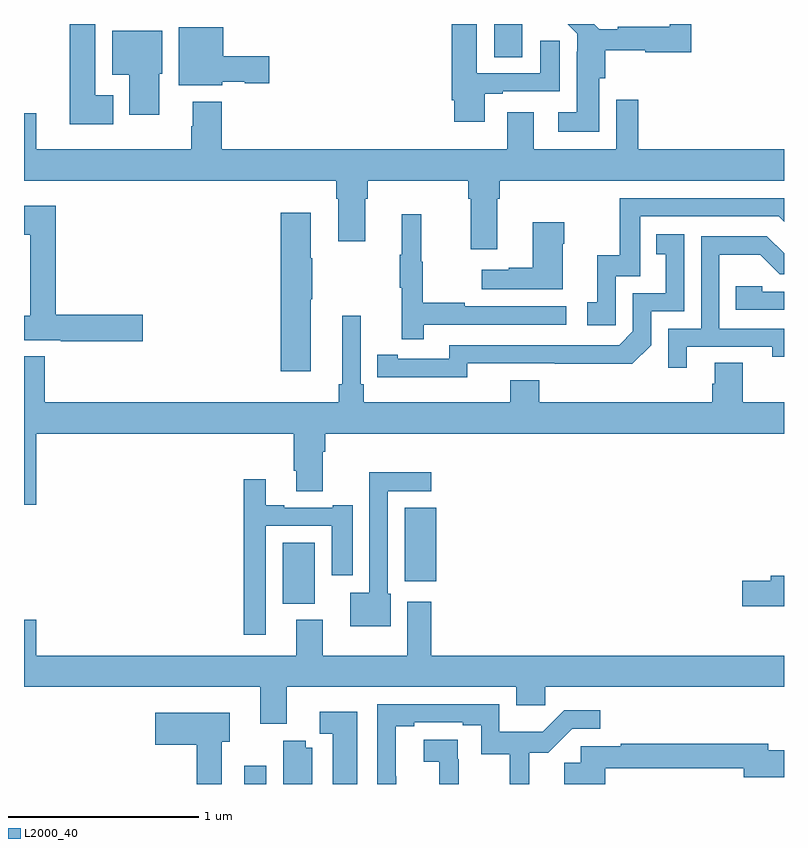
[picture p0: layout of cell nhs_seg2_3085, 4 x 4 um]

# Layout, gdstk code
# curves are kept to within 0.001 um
import gdstk
lib = gdstk.Library(unit=1e-6, precision=1e-09)
def R(c, l, rs):  # rectangles x0, y0, x1, y1
    for r in rs: c.add(gdstk.rectangle(r[:2], r[2:], *l))
def P(c, l, *ps):  # polygons
    for p in ps: c.add(gdstk.Polygon(p, *l))
L2000_40 = (2000, 40)

nhs_seg2_3085 = lib.new_cell('nhs_seg2_3085')
R(nhs_seg2_3085, L2000_40, [(274.158,637.8,274.275,637.897), (274.361,638.75,274.531,639.07), (275.003,638.867,275.17,639.253), (275.474,641.626,275.623,641.8)])
P(nhs_seg2_3085, L2000_40, [(276.028,641.514),(276.059,641.514),(276.059,641.663),(276.27,641.663),(276.27,641.651),(276.511,641.651),(276.511,641.798),(276.398,641.798),(276.398,641.785),(276.126,641.785),(276.126,641.773),(276.027,641.773),(276,641.8),(275.861,641.8),(275.913,641.748),(275.913,641.654),(275.909,641.654),(275.909,641.335),(275.811,641.335),(275.811,641.234),(276.028,641.234)],
  [(275.425,641.433),(275.521,641.433),(275.521,641.445),(275.821,641.445),(275.821,641.713),(275.717,641.713),(275.717,641.541),(275.383,641.541),(275.383,641.8),(275.252,641.8),(275.252,641.398),(275.264,641.398),(275.264,641.286),(275.425,641.286)],
  [(273.469,641.425),(273.376,641.425),(273.376,641.8),(273.242,641.8),(273.242,641.273),(273.469,641.273)],
  [(274.044,641.495),(274.161,641.495),(274.161,641.488),(274.291,641.488),(274.291,641.63),(274.048,641.63),(274.048,641.782),(273.815,641.782),(273.815,641.477),(274.044,641.477)],
  [(273.712,641.538),(273.727,641.538),(273.727,641.764),(273.464,641.764),(273.464,641.534),(273.554,641.534),(273.554,641.322),(273.712,641.322)],
  [(275.491,640.88),(275.504,640.88),(275.504,640.976),(277,640.976),(277,641.14),(276.233,641.14),(276.233,641.401),(276.117,641.401),(276.117,641.14),(275.683,641.14),(275.683,641.335),(275.543,641.335),(275.543,641.14),(274.04,641.14),(274.04,641.392),(273.887,641.392),(273.887,641.261),(273.88,641.261),(273.88,641.14),(273.064,641.14),(273.064,641.329),(273,641.329),(273,640.976),(274.643,640.976),(274.643,640.88),(274.655,640.88),(274.655,640.656),(274.795,640.656),(274.795,640.88),(274.808,640.88),(274.808,640.976),(275.339,640.976),(275.339,640.88),(275.351,640.88),(275.351,640.614),(275.491,640.614)],
  [(276.114,640.473),(276.243,640.473),(276.243,640.788),(276.972,640.788),(277,640.76),(277,640.884),(276.135,640.884),(276.135,640.582),(276.017,640.582),(276.017,640.335),(275.964,640.335),(275.964,640.215),(276.114,640.215)],
  [(273.625,640.271),(273.167,640.271),(273.167,640.843),(273,640.843),(273,640.691),(273.032,640.691),(273.032,640.264),(273,640.264),(273,640.136),(273.193,640.136),(273.193,640.129),(273.625,640.129)],
  [(274.51,640.351),(274.518,640.351),(274.518,640.568),(274.51,640.568),(274.51,640.807),(274.352,640.807),(274.352,639.972),(274.51,639.972)],
  [(275.105,640.218),(275.854,640.218),(275.854,640.314),(275.321,640.314),(275.321,640.334),(275.098,640.334),(275.098,640.548),(275.09,640.548),(275.09,640.798),(274.988,640.798),(274.988,640.585),(274.977,640.585),(274.977,640.411),(274.988,640.411),(274.988,640.14),(275.105,640.14)],
  [(275.836,640.643),(275.844,640.643),(275.844,640.756),(275.678,640.756),(275.678,640.517),(275.552,640.517),(275.552,640.507),(275.409,640.507),(275.409,640.403),(275.836,640.403)],
  [(275.334,640.014),(276.202,640.013),(276.3,640.11),(276.3,640.287),(276.474,640.287),(276.474,640.693),(276.328,640.693),(276.328,640.587),(276.377,640.587),(276.377,640.383),(276.204,640.383),(276.204,640.182),(276.132,640.11),(275.238,640.11),(275.238,640.038),(274.966,640.038),(274.966,640.058),(274.858,640.058),(274.858,639.942),(275.334,639.941)],
  [(276.487,640.101),(276.938,640.101),(276.938,640.05),(277,640.05),(277,640.197),(276.66,640.197),(276.66,640.586),(276.874,640.586),(276.978,640.482),(277,640.482),(277,640.593),(276.91,640.683),(276.564,640.683),(276.564,640.197),(276.39,640.197),(276.39,639.99),(276.487,639.99)],
  [(277,640.392),(276.885,640.392),(276.885,640.419),(276.745,640.419),(276.745,640.296),(277,640.296)],
  [(273.064,639.644),(274.421,639.644),(274.421,639.448),(274.433,639.448),(274.433,639.34),(274.573,639.34),(274.573,639.548),(274.586,639.548),(274.586,639.644),(277,639.644),(277,639.808),(276.783,639.808),(276.783,640.016),(276.635,640.016),(276.635,639.906),(276.623,639.906),(276.623,639.808),(275.711,639.808),(275.711,639.925),(275.558,639.925),(275.558,639.808),(274.787,639.808),(274.787,639.904),(274.773,639.904),(274.773,640.264),(274.676,640.264),(274.676,639.904),(274.657,639.904),(274.657,639.808),(273.11,639.808),(273.11,640.051),(273,640.051),(273,639.27),(273.064,639.27)],
  [(274.93,638.802),(274.914,638.802),(274.914,639.342),(275.143,639.342),(275.143,639.44),(274.818,639.44),(274.818,638.806),(274.718,638.806),(274.718,638.63),(274.93,638.63)],
  [(274.272,639.159),(274.619,639.159),(274.619,638.898),(274.729,638.898),(274.729,639.268),(274.625,639.268),(274.625,639.255),(274.369,639.255),(274.369,639.268),(274.273,639.268),(274.273,639.403),(274.156,639.403),(274.156,638.586),(274.272,638.586)],
  [(277,638.895),(276.929,638.895),(276.929,638.87),(276.78,638.87),(276.78,638.735),(277,638.735)],
  [(274.384,638.312),(275.591,638.312),(275.591,638.214),(275.743,638.214),(275.743,638.312),(277,638.312),(277,638.476),(275.144,638.476),(275.144,638.758),(275.018,638.758),(275.018,638.476),(274.573,638.476),(274.573,638.665),(274.433,638.665),(274.433,638.476),(273.064,638.476),(273.064,638.665),(273,638.665),(273,638.312),(274.244,638.312),(274.244,638.118),(274.384,638.118)],
  [(274.959,637.841),(274.957,637.841),(274.957,638.104),(275.053,638.104),(275.053,638.124),(275.309,638.124),(275.309,638.11),(275.406,638.11),(275.406,637.957),(275.557,637.957),(275.557,637.8),(275.66,637.8),(275.66,637.965),(275.759,637.965),(275.886,638.091),(276.034,638.091),(276.034,638.187),(275.844,638.187),(275.731,638.074),(275.502,638.074),(275.502,638.22),(274.86,638.22),(274.86,637.8),(274.959,637.8)],
  [(274.753,638.179),(274.557,638.179),(274.557,638.064),(274.625,638.064),(274.625,637.8),(274.753,637.8)],
  [(274.042,638.023),(274.084,638.023),(274.084,638.176),(273.69,638.176),(273.69,638.006),(273.908,638.006),(273.908,637.8),(274.042,637.8)],
  [(275.288,637.931),(275.282,637.931),(275.282,638.033),(275.103,638.033),(275.103,637.918),(275.185,637.918),(275.185,637.8),(275.288,637.8)],
  [(274.516,637.99),(274.484,637.99),(274.484,638.027),(274.364,638.027),(274.364,637.8),(274.516,637.8)],
  [(276.059,637.882),(276.788,637.882),(276.788,637.835),(277,637.835),(277,637.977),(276.916,637.977),(276.916,638.011),(276.142,638.011),(276.142,637.998),(275.931,637.998),(275.931,637.912),(275.843,637.912),(275.843,637.8),(276.059,637.8)])

lib.write_gds('nhs_seg2_3085.gds')
